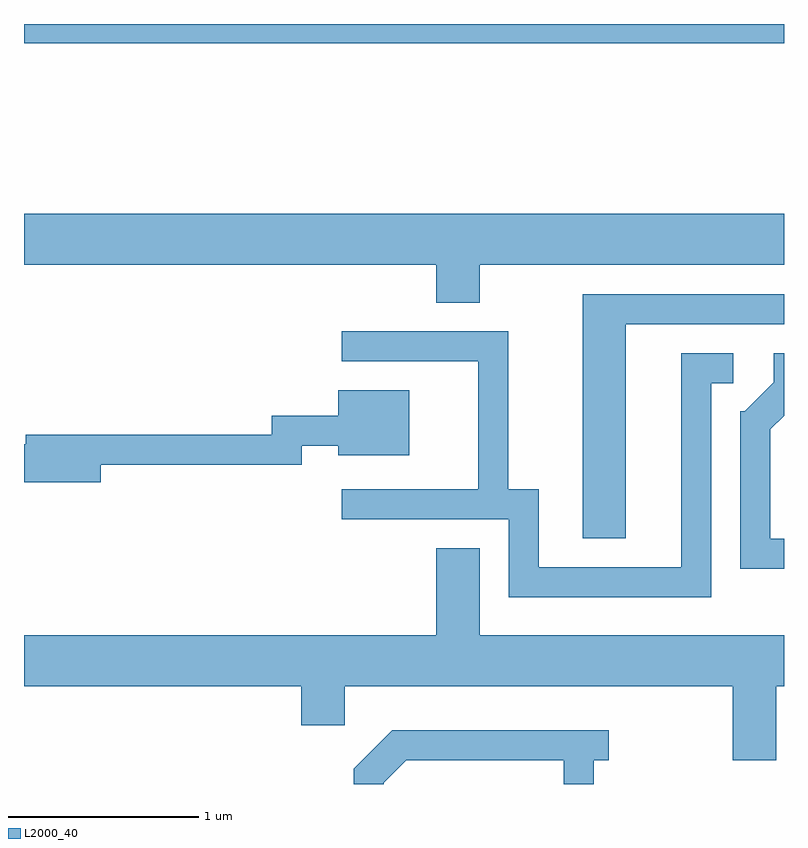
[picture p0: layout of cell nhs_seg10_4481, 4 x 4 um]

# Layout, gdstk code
import gdstk
lib = gdstk.Library(unit=1e-6, precision=1e-09)
def R(c, l, rs):  # rectangles x0, y0, x1, y1
    for r in rs: c.add(gdstk.rectangle(r[:2], r[2:], *l))
def P(c, l, *ps):  # polygons
    for p in ps: c.add(gdstk.Polygon(p, *l))
L2000_40 = (2000, 40)

nhs_seg10_4481 = lib.new_cell('nhs_seg10_4481')
R(nhs_seg10_4481, L2000_40, [(317.611,2108.421,321.611,2108.522)])
P(nhs_seg10_4481, L2000_40, [(320.009,2107.256),(321.611,2107.256),(321.611,2107.524),(317.611,2107.524),(317.611,2107.256),(319.781,2107.256),(319.781,2107.056),(320.009,2107.056)],
  [(320.779,2106.941),(321.611,2106.941),(321.611,2107.099),(320.551,2107.099),(320.551,2105.816),(320.779,2105.816)],
  [(321.229,2106.631),(321.343,2106.631),(321.343,2106.789),(321.071,2106.789),(321.071,2105.664),(320.319,2105.664),(320.319,2106.074),(320.159,2106.074),(320.159,2106.904),(319.283,2106.904),(319.283,2106.746),(320.001,2106.746),(320.001,2106.074),(319.283,2106.074),(319.283,2105.916),(320.161,2105.916),(320.161,2105.506),(321.229,2105.506)],
  [(321.611,2105.814),(321.539,2105.814),(321.539,2106.389),(321.611,2106.461),(321.611,2106.789),(321.556,2106.789),(321.556,2106.637),(321.404,2106.484),(321.381,2106.484),(321.381,2105.656),(321.611,2105.656)],
  [(318.014,2106.201),(319.074,2106.201),(319.074,2106.301),(319.266,2106.301),(319.266,2106.251),(319.639,2106.251),(319.639,2106.594),(319.266,2106.594),(319.266,2106.459),(318.916,2106.459),(318.916,2106.359),(317.621,2106.359),(317.621,2106.309),(317.611,2106.309),(317.611,2106.111),(318.014,2106.111)],
  [(321.569,2105.036),(321.611,2105.036),(321.611,2105.304),(320.009,2105.304),(320.009,2105.764),(319.781,2105.764),(319.781,2105.304),(317.611,2105.304),(317.611,2105.036),(319.071,2105.036),(319.071,2104.831),(319.299,2104.831),(319.299,2105.036),(321.341,2105.036),(321.341,2104.646),(321.569,2104.646)],
  [(319.504,2104.529),(319.622,2104.646),(320.451,2104.646),(320.451,2104.522),(320.609,2104.522),(320.609,2104.646),(320.688,2104.646),(320.688,2104.804),(319.549,2104.804),(319.346,2104.602),(319.346,2104.522),(319.504,2104.522)])

lib.write_gds('nhs_seg10_4481.gds')
